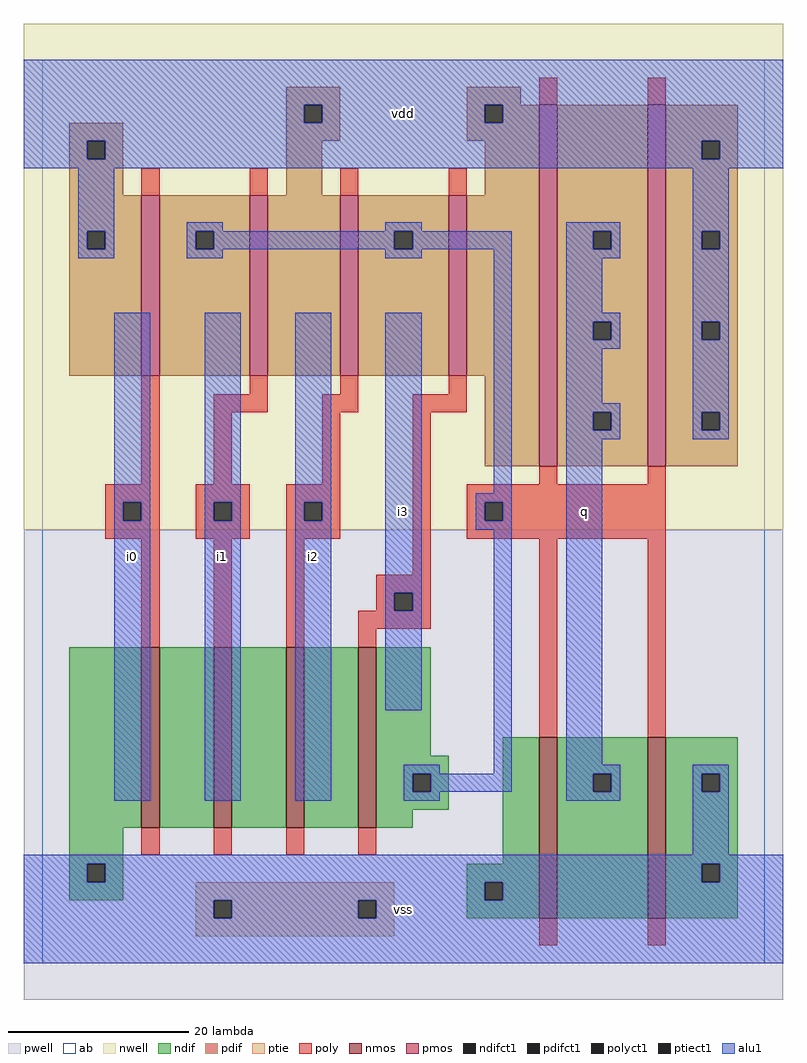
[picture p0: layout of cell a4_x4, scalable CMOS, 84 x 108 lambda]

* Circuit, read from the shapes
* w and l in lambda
.subckt a4_x4 i0 i1 i2 i3 q vdd vss
M1 n1 i0 vss vss nfet w=20 l=2
M2 n2 i1 n1 vss nfet w=20 l=2
M3 n3 i2 n2 vss nfet w=20 l=2
M4 n4 i3 n3 vss nfet w=20 l=2
M5 q n4 vss vss nfet w=20 l=2 m=2
M6 n4 i0 vdd n5 pfet w=20 l=2
M7 vdd i1 n4 n5 pfet w=20 l=2
M8 n4 i2 vdd n5 pfet w=20 l=2
M9 vdd i3 n4 n5 pfet w=20 l=2
M10 q n4 vdd n5 pfet w=40 l=2 m=2
.ends

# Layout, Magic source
magic
tech scmos
<< ab >>
rect 0 0 80 100
<< nwell >>
rect -2 48 82 104
<< pwell >>
rect -2 -4 82 48
<< poly >>
rect 55 95 57 98
rect 67 95 69 98
rect 11 85 13 88
rect 23 85 25 88
rect 33 85 35 88
rect 45 85 47 88
rect 11 53 13 65
rect 23 63 25 65
rect 33 63 35 65
rect 45 63 47 65
rect 19 61 25 63
rect 31 61 35 63
rect 41 61 47 63
rect 19 53 21 61
rect 31 53 33 61
rect 7 51 13 53
rect 7 49 9 51
rect 11 49 13 51
rect 7 47 13 49
rect 17 51 23 53
rect 17 49 19 51
rect 21 49 23 51
rect 17 47 23 49
rect 27 51 33 53
rect 27 49 29 51
rect 31 49 33 51
rect 27 47 33 49
rect 11 35 13 47
rect 19 35 21 47
rect 27 35 29 47
rect 41 43 43 61
rect 55 53 57 55
rect 67 53 69 55
rect 47 51 69 53
rect 47 49 49 51
rect 51 49 69 51
rect 47 47 69 49
rect 37 41 43 43
rect 37 39 39 41
rect 41 39 43 41
rect 35 37 43 39
rect 35 35 37 37
rect 55 25 57 47
rect 67 25 69 47
rect 11 12 13 15
rect 19 12 21 15
rect 27 12 29 15
rect 35 12 37 15
rect 55 2 57 5
rect 67 2 69 5
<< ndif >>
rect 3 15 11 35
rect 13 15 19 35
rect 21 15 27 35
rect 29 15 35 35
rect 37 23 43 35
rect 37 21 45 23
rect 37 19 41 21
rect 43 19 45 21
rect 37 17 45 19
rect 37 15 41 17
rect 3 11 9 15
rect 51 11 55 25
rect 3 9 5 11
rect 7 9 9 11
rect 47 9 55 11
rect 3 7 9 9
rect 47 7 49 9
rect 51 7 55 9
rect 47 5 55 7
rect 57 21 67 25
rect 57 19 61 21
rect 63 19 67 21
rect 57 5 67 19
rect 69 21 77 25
rect 69 19 73 21
rect 75 19 77 21
rect 69 11 77 19
rect 69 9 73 11
rect 75 9 77 11
rect 69 5 77 9
<< pdif >>
rect 27 95 33 97
rect 27 93 29 95
rect 31 93 33 95
rect 3 91 9 93
rect 3 89 5 91
rect 7 89 9 91
rect 3 85 9 89
rect 27 91 33 93
rect 47 95 53 97
rect 47 93 49 95
rect 51 93 55 95
rect 47 91 55 93
rect 27 85 31 91
rect 49 85 55 91
rect 3 81 11 85
rect 3 79 5 81
rect 7 79 11 81
rect 3 65 11 79
rect 13 81 23 85
rect 13 79 17 81
rect 19 79 23 81
rect 13 65 23 79
rect 25 65 33 85
rect 35 81 45 85
rect 35 79 39 81
rect 41 79 45 81
rect 35 65 45 79
rect 47 65 55 85
rect 49 55 55 65
rect 57 81 67 95
rect 57 79 61 81
rect 63 79 67 81
rect 57 71 67 79
rect 57 69 61 71
rect 63 69 67 71
rect 57 61 67 69
rect 57 59 61 61
rect 63 59 67 61
rect 57 55 67 59
rect 69 91 77 95
rect 69 89 73 91
rect 75 89 77 91
rect 69 81 77 89
rect 69 79 73 81
rect 75 79 77 81
rect 69 71 77 79
rect 69 69 73 71
rect 75 69 77 71
rect 69 61 77 69
rect 69 59 73 61
rect 75 59 77 61
rect 69 55 77 59
<< alu1 >>
rect -2 95 82 100
rect -2 93 29 95
rect 31 93 49 95
rect 51 93 82 95
rect -2 91 82 93
rect -2 89 5 91
rect 7 89 73 91
rect 75 89 82 91
rect -2 88 82 89
rect 4 81 8 88
rect 4 79 5 81
rect 7 79 8 81
rect 4 78 8 79
rect 16 81 20 82
rect 38 81 42 82
rect 58 81 64 82
rect 16 79 17 81
rect 19 79 39 81
rect 41 79 52 81
rect 16 78 20 79
rect 38 78 42 79
rect 8 51 12 72
rect 8 49 9 51
rect 11 49 12 51
rect 8 18 12 49
rect 18 51 22 72
rect 18 49 19 51
rect 21 49 22 51
rect 18 18 22 49
rect 28 51 32 72
rect 28 49 29 51
rect 31 49 32 51
rect 28 18 32 49
rect 38 41 42 72
rect 50 52 52 79
rect 48 51 52 52
rect 48 49 49 51
rect 51 49 52 51
rect 48 48 52 49
rect 38 39 39 41
rect 41 39 42 41
rect 38 28 42 39
rect 40 21 44 22
rect 50 21 52 48
rect 40 19 41 21
rect 43 19 52 21
rect 58 79 61 81
rect 63 79 64 81
rect 58 78 64 79
rect 72 81 76 88
rect 72 79 73 81
rect 75 79 76 81
rect 58 72 62 78
rect 58 71 64 72
rect 58 69 61 71
rect 63 69 64 71
rect 58 68 64 69
rect 72 71 76 79
rect 72 69 73 71
rect 75 69 76 71
rect 58 62 62 68
rect 58 61 64 62
rect 58 59 61 61
rect 63 59 64 61
rect 58 58 64 59
rect 72 61 76 69
rect 72 59 73 61
rect 75 59 76 61
rect 72 58 76 59
rect 58 22 62 58
rect 58 21 64 22
rect 58 19 61 21
rect 63 19 64 21
rect 40 18 44 19
rect 58 18 64 19
rect 72 21 76 22
rect 72 19 73 21
rect 75 19 76 21
rect 72 12 76 19
rect -2 11 82 12
rect -2 9 5 11
rect 7 9 73 11
rect 75 9 82 11
rect -2 7 49 9
rect 51 7 82 9
rect -2 5 19 7
rect 21 5 35 7
rect 37 5 82 7
rect -2 0 82 5
<< ptie >>
rect 17 7 39 9
rect 17 5 19 7
rect 21 5 35 7
rect 37 5 39 7
rect 17 3 39 5
<< nmos >>
rect 11 15 13 35
rect 19 15 21 35
rect 27 15 29 35
rect 35 15 37 35
rect 55 5 57 25
rect 67 5 69 25
<< pmos >>
rect 11 65 13 85
rect 23 65 25 85
rect 33 65 35 85
rect 45 65 47 85
rect 55 55 57 95
rect 67 55 69 95
<< polyct1 >>
rect 9 49 11 51
rect 19 49 21 51
rect 29 49 31 51
rect 49 49 51 51
rect 39 39 41 41
<< ndifct1 >>
rect 41 19 43 21
rect 5 9 7 11
rect 49 7 51 9
rect 61 19 63 21
rect 73 19 75 21
rect 73 9 75 11
<< ptiect1 >>
rect 19 5 21 7
rect 35 5 37 7
<< pdifct1 >>
rect 29 93 31 95
rect 5 89 7 91
rect 49 93 51 95
rect 5 79 7 81
rect 17 79 19 81
rect 39 79 41 81
rect 61 79 63 81
rect 61 69 63 71
rect 61 59 63 61
rect 73 89 75 91
rect 73 79 75 81
rect 73 69 75 71
rect 73 59 75 61
<< labels >>
rlabel alu1 10 45 10 45 6 i0
rlabel alu1 20 45 20 45 6 i1
rlabel alu1 30 45 30 45 6 i2
rlabel alu1 40 6 40 6 6 vss
rlabel alu1 40 50 40 50 6 i3
rlabel alu1 40 94 40 94 6 vdd
rlabel alu1 60 50 60 50 6 q
<< end >>
